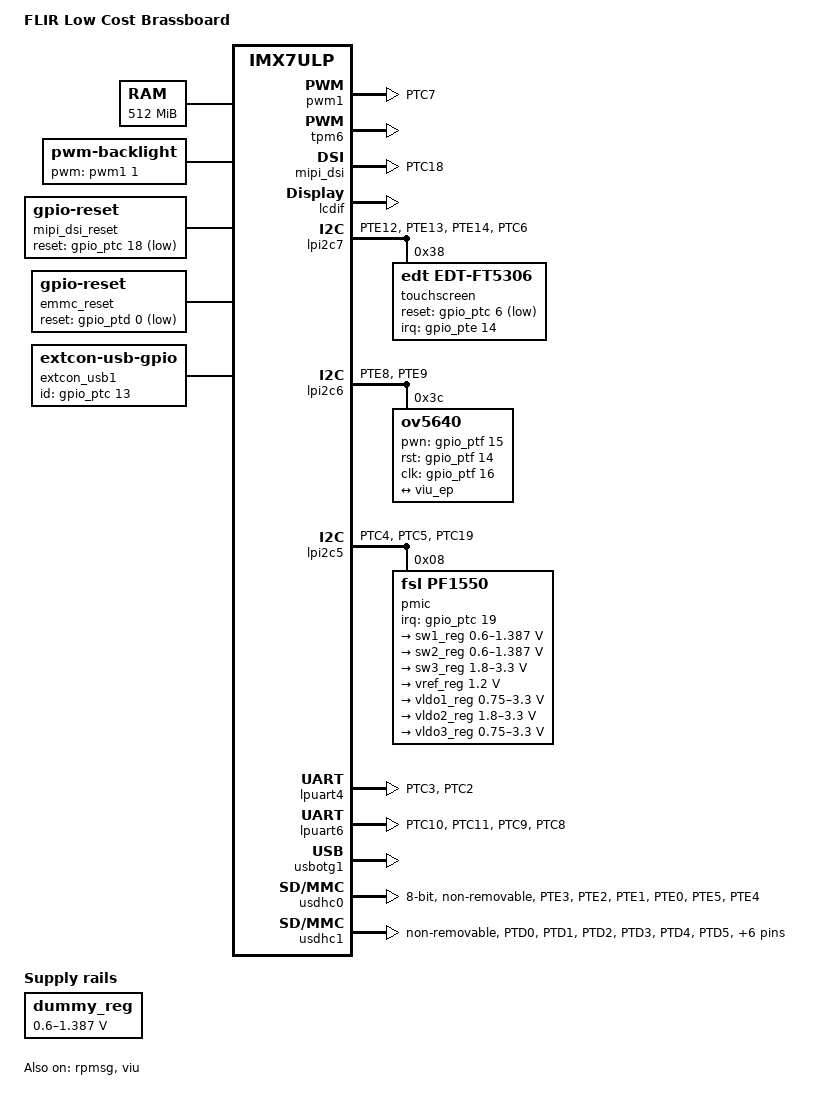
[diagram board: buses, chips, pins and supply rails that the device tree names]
/*
 * Copyright 2018 FLIR
 *
 * This program is free software; you can redistribute it and/or modify
 * it under the terms of the GNU General Public License version 2 as
 * published by the Free Software Foundation.
 */

/dts-v1/;

#include "imx7ulp.dtsi"
#include <dt-bindings/input/input.h>

/ {
	model = "FLIR Low Cost Brassboard";
	compatible = "flir,imx7ulp-bblc", "fsl,imx7ulp", "Generic DT based system";

	chosen {
		stdout-path = &lpuart4;
	};

	memory {
		device_type = "memory";
		reg = <0x60000000 0x20000000>;
	};

	backlight {
		compatible = "pwm-backlight";
		pwms = <&pwm1 1 50000>;
		brightness-levels = <0 10 20 30 40 50 60 70 80 90 100>;
		default-brightness-level = <7>;
		status = "okay";
	};

	mipi_dsi_reset: mipi-dsi-reset {
		compatible = "gpio-reset";
		reset-gpios = <&gpio_ptc 18 GPIO_ACTIVE_LOW>;	// Dummy GPIO, not used
		reset-delay-us = <1000>;
		#reset-cells = <0>;
	};

	emmc_reset: emmc_reset {
		compatible = "gpio-reset";
		reset-gpios =  <&gpio_ptd 0 GPIO_ACTIVE_LOW>;
		reset-delay-us = <1000>;
		#reset-cells = <0>;
	};
			
	regulators {
		compatible = "simple-bus";
		#address-cells = <1>;
		#size-cells = <0>;
		
		dummy_reg: dummy_reg {
			compatible = "regulator-fixed";
			regulator-name = "dummy_reg";
			regulator-min-microvolt = <600000>;
			regulator-max-microvolt = <1387500>;
			regulator-boot-on;
			regulator-always-on;
		};
	
	};
	
	extcon_usb1: extcon_usb1 {
		compatible = "linux,extcon-usb-gpio";
		id-gpio = <&gpio_ptc 13 GPIO_ACTIVE_HIGH>;
		pinctrl-names = "default", "sleep";
		pinctrl-0 = <&pinctrl_extcon_usb1>;
		pinctrl-1 = <&pinctrl_extcon_usb1>;
	};

	v4l2_cap_0 {
		compatible = "fsl,imx7-rpmsg-capture";
		status = "okay";
	};
	
	// We use another PWM than evalkit - TPM5 channel 1
	pwm1: tpm@40260000 {
		compatible = "nxp,tpm-pwm";
		reg = <0x40260000 0x1000>;
		nxp,pwm-number = <2>;
		assigned-clocks = <&clks IMX7ULP_CLK_LPTPM5>;
		assigned-clock-parents = <&clks IMX7ULP_CLK_SOSC_BUS_CLK>;
		clocks = <&clks IMX7ULP_CLK_LPTPM5>;
		#pwm-cells = <2>;
		pinctrl-names = "default", "sleep";
		pinctrl-0 = <&pinctrl_pwm1>;
		pinctrl-1 = <&pinctrl_pwm1>;
	};
};

&ahbbridge1 {
	// Set up new system timer as TPM5 is used by PWM
	tpm6: tpm@40A10000 {
		compatible = "fsl,imx7ulp-tpm";
		reg = <0x40A10000 0x1000>;
		interrupts = <GIC_SPI 23 IRQ_TYPE_LEVEL_HIGH>;
		clocks = <&clks IMX7ULP_CLK_LPTPM6>,
			 <&clks IMX7ULP_CLK_NIC1_BUS_DIV>;
		clock-names = "per", "ipg";
	};
};
	
&cpu0 {
	arm-supply= <&sw1_reg>;
};

// Disable TPM5 as it is used by PWM - we use TPM6 instead
&tpm5 {
	status = "disabled";
};

// Change system clock from TPM5 to TPM6
&clks {
	assigned-clocks = <&clks IMX7ULP_CLK_LPTPM6>;
};

// Disable PWM on TPM4
&pwm0 {
	status = "disabled";
};

&iomuxc1 {
	pinctrl-names = "default";
	pinctrl-0 = <&pinctrl_hog_1>;

	imx7ulp-evk {
		pinctrl_hog_1: hoggrp-1 {
			fsl,pins = <
				IMX7ULP_PAD_PTC1__PTC1	0x3	 //SHUTTER_OUT
			>;
		};

		pinctrl_pwm1: pwm1_grp {
			fsl,pins = <
				IMX7ULP_PAD_PTC7__TPM5_CH1	0x3
			>;
		};

		pinctrl_lpi2c5: lpi2c5grp {
			fsl,pins = <
				IMX7ULP_PAD_PTC4__LPI2C5_SCL       0x27
				IMX7ULP_PAD_PTC5__LPI2C5_SDA       0x27
				IMX7ULP_PAD_PTC19__PTC19           0x3	// PMIC_INT
			>;
		};
		
		pinctrl_lpi2c6: lpi2c6grp {
			fsl,pins = <
				IMX7ULP_PAD_PTE8__LPI2C6_SCL	0x27
				IMX7ULP_PAD_PTE9__LPI2C6_SDA	0x27
			>;
		};
		
		pinctrl_lpi2c7: lpi2c7grp {
			fsl,pins = <
				IMX7ULP_PAD_PTE12__LPI2C7_SCL	0x27
				IMX7ULP_PAD_PTE13__LPI2C7_SDA	0x27
				IMX7ULP_PAD_PTE14__PTE14	0x3
				IMX7ULP_PAD_PTC6__PTC6		0x3
			>;
		};
		
		pinctrl_lpuart4: lpuart4grp {
			fsl,pins = <
				IMX7ULP_PAD_PTC3__LPUART4_RX	0x3
				IMX7ULP_PAD_PTC2__LPUART4_TX	0x3
			>;
		};

		pinctrl_lpuart6: lpuart6grp {
			fsl,pins = <
				IMX7ULP_PAD_PTC10__LPUART6_TX	0x3
				IMX7ULP_PAD_PTC11__LPUART6_RX	0x3
				IMX7ULP_PAD_PTC9__LPUART6_RTS_B	0x3
				IMX7ULP_PAD_PTC8__LPUART6_CTS_B	0x3
			>;
		};

		pinctrl_usdhc0: usdhc0grp {
			fsl,pins = <
				IMX7ULP_PAD_PTD0__PTD0		0x20000		/* USDHC0 RST */
				IMX7ULP_PAD_PTD1__SDHC0_CMD	0x43
				IMX7ULP_PAD_PTD2__SDHC0_CLK	0x10042
				IMX7ULP_PAD_PTD3__SDHC0_D7	0x43
				IMX7ULP_PAD_PTD4__SDHC0_D6	0x43
				IMX7ULP_PAD_PTD5__SDHC0_D5	0x43
				IMX7ULP_PAD_PTD6__SDHC0_D4	0x43
				IMX7ULP_PAD_PTD7__SDHC0_D3	0x43
				IMX7ULP_PAD_PTD8__SDHC0_D2	0x43
				IMX7ULP_PAD_PTD9__SDHC0_D1	0x43
				IMX7ULP_PAD_PTD10__SDHC0_D0	0x43
				IMX7ULP_PAD_PTD11__SDHC0_DQS	0x42
			>;
		};

		pinctrl_usdhc1: usdhc1grp {
			fsl,pins = <
				IMX7ULP_PAD_PTE3__SDHC1_CMD		0x43
				IMX7ULP_PAD_PTE2__SDHC1_CLK		0x10042
				IMX7ULP_PAD_PTE1__SDHC1_D0		0x43
				IMX7ULP_PAD_PTE0__SDHC1_D1		0x43
				IMX7ULP_PAD_PTE5__SDHC1_D2		0x43
				IMX7ULP_PAD_PTE4__SDHC1_D3		0x43
			>;
		};
		
		pinctrl_extcon_usb1: extcon1grp {
			fsl,pins = <
				IMX7ULP_PAD_PTC13__PTC13	0x10003
			>;
		};

		pinctrl_mipi_dsi_reset: mipi_dsi_reset_grp {
			fsl,pins = <
				IMX7ULP_PAD_PTC18__PTC18	0x3	// Dummy
			>;
		};
		
		pinctrl_camera: camera_grp {
			fsl,pins = <
				IMX7ULP_PAD_PTF16__PTF16	0x20043  /* CAMERA CLK ENABLE*/
				IMX7ULP_PAD_PTF15__PTF15	0x20043  /* CAMERA PWDN */
				IMX7ULP_PAD_PTF14__PTF14	0x20043  /* CAMERA RESET */
				IMX7ULP_PAD_PTF3__VIU_PCLK	0x10043
				IMX7ULP_PAD_PTF6__VIU_D2	0x43
				IMX7ULP_PAD_PTF7__VIU_D3	0x43
				IMX7ULP_PAD_PTF8__VIU_D4	0x43
				IMX7ULP_PAD_PTF9__VIU_D5	0x43
				IMX7ULP_PAD_PTF10__VIU_D6	0x43
				IMX7ULP_PAD_PTF11__VIU_D7	0x43
				IMX7ULP_PAD_PTF12__VIU_D8	0x43
				IMX7ULP_PAD_PTF13__VIU_D9	0x43
			>;
		};
	};
};

/* LCD */
&mipi_dsi {
	pinctrl-names = "default", "sleep";
	pinctrl-0 = <&pinctrl_mipi_dsi_reset>;
	pinctrl-1 = <&pinctrl_mipi_dsi_reset>;
	lcd_panel = "ORISE-VGA";
	status = "okay";
	resets = <&mipi_dsi_reset>;
};

&lcdif {
	status = "okay";
	disp-dev = "mipi_dsi_northwest";
	display = <&display0>;

	display0: display@0 {
		bits-per-pixel = <32>;
		bus-width = <24>;
	};
};

/* Touch screen */
&lpi2c7 {
	#address-cells = <1>;
	#size-cells = <0>;
	pinctrl-names = "default",  "sleep";
	pinctrl-0 = <&pinctrl_lpi2c7>;
	pinctrl-1 = <&pinctrl_lpi2c7>;
	status = "okay";
	
	touchscreen:edt_ft5336@38 {
		compatible = "edt,edt-ft5306";
		reg = <0x38>;
		interrupt-parent = <&gpio_pte>;
		interrupts = <14 GPIO_ACTIVE_HIGH>;
		touchscreen-size-x = <640>;
		touchscreen-size-y = <480>;
		reset-gpios = <&gpio_ptc 6 GPIO_ACTIVE_LOW>;
		status = "okay";
	};
};
	
/*  IO expander for keyboard, VCAM, Lepton, Temp sensor 1 and 2, EEPROM	*/
&lpi2c6 {
	#address-cells = <1>;
	#size-cells = <0>;
	pinctrl-names = "default", "sleep";
	pinctrl-0 = <&pinctrl_lpi2c6>;
	pinctrl-1 = <&pinctrl_lpi2c6>;
	status = "okay";

	ov5640: ov5640@3c {
		compatible = "ov5640";
		reg = <0x3c>;
		pinctrl-names = "default";
		pinctrl-0 = <&pinctrl_camera>;
		clocks = <&clks IMX7ULP_CLK_DUMMY>;
		clock-names = "csi_mclk";
		pwn-gpios = <&gpio_ptf 15 GPIO_ACTIVE_HIGH>;
		rst-gpios = <&gpio_ptf 14 GPIO_ACTIVE_HIGH>;
		clk-gpios = <&gpio_ptf 16 GPIO_ACTIVE_HIGH>;
		csi_id = <0>;
		mclk = <24000000>;
		mclk_source = <0>;
		status = "okay";

		port {
			ov5640_ep: endpoint {
				remote-endpoint = <&viu_ep>;
			};
		};
	};
};
	
/*  PMIC */
&lpi2c5 {
	#address-cells = <1>;
	#size-cells = <0>;
	pinctrl-names = "default", "sleep";
	pinctrl-0 = <&pinctrl_lpi2c5>;
	pinctrl-1 = <&pinctrl_lpi2c5>;
	status = "okay";

	pmic: pf1550@08 {
		compatible = "fsl,pf1550";
		interrupt-parent = <&gpio_ptc>;
		interrupts = <19 IRQ_TYPE_EDGE_FALLING>;
		reg = <0x08>;

		onkey {
			compatible = "fsl,pf1550-onkey";
			linux,keycode = <KEY_POWER>;
			wakeup;
		};

		charger {
			compatible = "fsl,pf1550-charger";
		};

		regulators {
			compatible = "fsl,pf1550-regulator";

			sw1_reg: SW1 {
				regulator-name = "SW1";
				regulator-min-microvolt = <600000>;
				regulator-max-microvolt = <1387500>;
				regulator-boot-on;
				regulator-always-on;
				regulator-ramp-delay = <6250>;
			};

			sw2_reg: SW2 {
				regulator-name = "SW2";
				regulator-min-microvolt = <600000>;
				regulator-max-microvolt = <1387500>;
				regulator-boot-on;
				regulator-always-on;
			};

			sw3_reg: SW3 {
				regulator-name = "SW3";
				regulator-min-microvolt = <1800000>;
				regulator-max-microvolt = <3300000>;
				regulator-boot-on;
				regulator-always-on;
			};

			vref_reg: VREFDDR {
				regulator-name = "VREFDDR";
				regulator-min-microvolt = <1200000>;
				regulator-max-microvolt = <1200000>;
				regulator-boot-on;
				regulator-always-on;
			};

			vldo1_reg: LDO1 {
				regulator-name = "LDO1";
				regulator-min-microvolt = <750000>;
				regulator-max-microvolt = <3300000>;
				regulator-always-on;
			};

			vldo2_reg: LDO2 {
				regulator-name = "LDO2";
				regulator-min-microvolt = <1800000>;
				regulator-max-microvolt = <3300000>;
				regulator-always-on;
			};

			vldo3_reg: LDO3 {
				regulator-name = "LDO3";
				regulator-min-microvolt = <750000>;
				regulator-max-microvolt = <3300000>;
				regulator-always-on;
			};
		};
	};
};

&lpuart4 { /* console */
	pinctrl-names = "default", "sleep";
	pinctrl-0 = <&pinctrl_lpuart4>;
	pinctrl-1 = <&pinctrl_lpuart4>;
	status = "okay";
};

&lpuart6 { /* BT */
	pinctrl-names = "default", "sleep";
	pinctrl-0 = <&pinctrl_lpuart6>;
	pinctrl-1 = <&pinctrl_lpuart6>;
	status = "okay";
};

&rpmsg_reserved{
	reg = <0x7FF80000 0x80000>;
};

&rpmsg{
	/*
	 * 64K for one rpmsg instance, default using 2 rpmsg instances:
	 * --0x7FF80000~0x7FF8FFFF: pmic,pm,audio,keys,gpio,sensor
	 * --0x7FF90000~0x7FF9FFFF: pingpong,virtual tty
	 */
	vdev-nums = <2>;
	reg = <0x7FF80000 0x20000>;
	status = "okay";
};

&heartbeat_rpmsg{
	status = "disabled";
};

&rtc_rpmsg{
	status = "disabled";
};

&usbotg1 {
	extcon = <0>, <&extcon_usb1>;
	srp-disable;
	hnp-disable;
	adp-disable;
	status = "okay";
};

/* emmc */
&usdhc0 {
	pinctrl-names = "default", "sleep";
	pinctrl-0 = <&pinctrl_usdhc1>;
	pinctrl-1 = <&pinctrl_usdhc1>;
	bus-width = <8>;
	no-1-8-v;
	resets = <&emmc_reset>;
	pm-ignore-notify;
	keep-power-in-suspend;
	non-removable;
	status = "okay";
};

/* wifi */
&usdhc1 {
	pinctrl-names = "default", "sleep";
	pinctrl-0 = <&pinctrl_usdhc0>;
	pinctrl-1 = <&pinctrl_usdhc0>;
	no-1-8-v;
	non-removable;
	status = "okay";
};

&viu {
	status = "okay";

	port {
		viu_ep: endpoint {
			remote-endpoint = <&ov5640_ep>;
		};
	};
};
